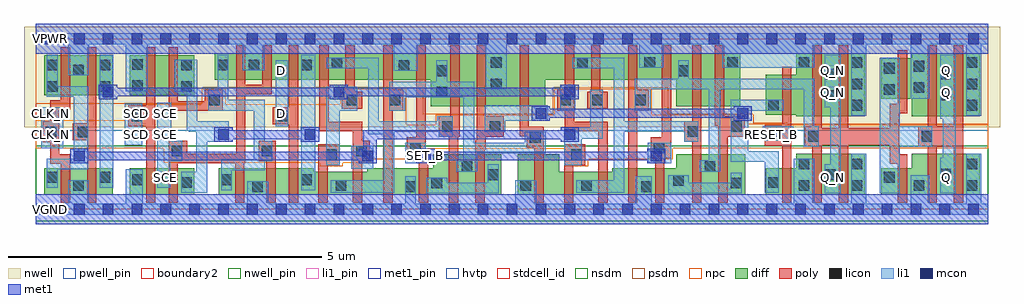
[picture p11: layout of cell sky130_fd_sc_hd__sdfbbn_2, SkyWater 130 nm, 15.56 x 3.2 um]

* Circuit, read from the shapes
.subckt sky130_fd_sc_hd__sdfbbn_2 CLK_N D Q Q_N RESET_B SCD SCE SET_B VGND VNB VPB VPWR
XM1 VGND CLK_N n1 VNB sky130_fd_pr__nfet_01v8 w=0.42 l=0.15
XM2 n2 n1 VGND VNB sky130_fd_pr__nfet_01v8 w=0.42 l=0.15
XM3 n3 SCD VGND VNB sky130_fd_pr__nfet_01v8 w=0.42 l=0.15
XM4 n4 SCE n3 VNB sky130_fd_pr__nfet_01v8 w=0.42 l=0.15
XM5 VGND SCE n5 VNB sky130_fd_pr__nfet_01v8 w=0.42 l=0.15
XM6 n6 n5 VGND VNB sky130_fd_pr__nfet_01v8 w=0.42 l=0.15
XM7 n4 D n6 VNB sky130_fd_pr__nfet_01v8 w=0.42 l=0.15
XM8 n7 n2 n4 VNB sky130_fd_pr__nfet_01v8 w=0.36 l=0.15
XM9 n8 n1 n7 VNB sky130_fd_pr__nfet_01v8 w=0.36 l=0.15
XM10 VGND n9 n8 VNB sky130_fd_pr__nfet_01v8 w=0.42 l=0.15
XM11 n10 SET_B VGND VNB sky130_fd_pr__nfet_01v8 w=0.42 l=0.15
XM12 n9 n7 n10 VNB sky130_fd_pr__nfet_01v8 w=0.64 l=0.15
XM13 n10 n11 n9 VNB sky130_fd_pr__nfet_01v8 w=0.64 l=0.15
XM14 n12 n9 VGND VNB sky130_fd_pr__nfet_01v8 w=0.64 l=0.15
XM15 n13 n1 n12 VNB sky130_fd_pr__nfet_01v8 w=0.36 l=0.15
XM16 n14 n2 n13 VNB sky130_fd_pr__nfet_01v8 w=0.36 l=0.15
XM17 VGND n15 n14 VNB sky130_fd_pr__nfet_01v8 w=0.42 l=0.15
XM18 n16 SET_B VGND VNB sky130_fd_pr__nfet_01v8 w=0.42 l=0.15
XM19 n15 n13 n16 VNB sky130_fd_pr__nfet_01v8 w=0.64 l=0.15
XM20 n16 n11 n15 VNB sky130_fd_pr__nfet_01v8 w=0.64 l=0.15
XM21 VGND RESET_B n11 VNB sky130_fd_pr__nfet_01v8 w=0.42 l=0.15
XM22 Q_N n15 VGND VNB sky130_fd_pr__nfet_01v8 w=0.65 l=0.15 m=2
XM23 VGND n15 n17 VNB sky130_fd_pr__nfet_01v8 w=0.42 l=0.15
XM24 Q n17 VGND VNB sky130_fd_pr__nfet_01v8 w=0.65 l=0.15 m=2
XM25 VPWR CLK_N n1 VPB sky130_fd_pr__pfet_01v8_hvt w=0.64 l=0.15
XM26 n2 n1 VPWR VPB sky130_fd_pr__pfet_01v8_hvt w=0.64 l=0.15
XM27 n18 SCD VPWR VPB sky130_fd_pr__pfet_01v8_hvt w=0.64 l=0.15
XM28 n4 n5 n18 VPB sky130_fd_pr__pfet_01v8_hvt w=0.64 l=0.15
XM29 VPWR SCE n5 VPB sky130_fd_pr__pfet_01v8_hvt w=0.42 l=0.15
XM30 n19 SCE VPWR VPB sky130_fd_pr__pfet_01v8_hvt w=0.42 l=0.15
XM31 n4 D n19 VPB sky130_fd_pr__pfet_01v8_hvt w=0.42 l=0.15
XM32 n7 n1 n4 VPB sky130_fd_pr__pfet_01v8_hvt w=0.42 l=0.15
XM33 n20 n2 n7 VPB sky130_fd_pr__pfet_01v8_hvt w=0.42 l=0.15
XM34 VPWR n9 n20 VPB sky130_fd_pr__pfet_01v8_hvt w=0.42 l=0.15
XM35 n9 SET_B VPWR VPB sky130_fd_pr__pfet_01v8_hvt w=0.42 l=0.15
XM36 n21 n7 n9 VPB sky130_fd_pr__pfet_01v8_hvt w=0.84 l=0.15
XM37 VPWR n11 n21 VPB sky130_fd_pr__pfet_01v8_hvt w=0.84 l=0.15
XM38 n22 n9 VPWR VPB sky130_fd_pr__pfet_01v8_hvt w=0.84 l=0.15
XM39 n13 n2 n22 VPB sky130_fd_pr__pfet_01v8_hvt w=0.42 l=0.15
XM40 n23 n1 n13 VPB sky130_fd_pr__pfet_01v8_hvt w=0.42 l=0.15
XM41 VPWR n15 n23 VPB sky130_fd_pr__pfet_01v8_hvt w=0.42 l=0.15
XM42 n15 SET_B VPWR VPB sky130_fd_pr__pfet_01v8_hvt w=0.42 l=0.15
XM43 n24 n13 n15 VPB sky130_fd_pr__pfet_01v8_hvt w=0.84 l=0.15
XM44 VPWR n11 n24 VPB sky130_fd_pr__pfet_01v8_hvt w=0.84 l=0.15
XM45 VPWR RESET_B n11 VPB sky130_fd_pr__pfet_01v8_hvt w=0.64 l=0.15
XM46 Q_N n15 VPWR VPB sky130_fd_pr__pfet_01v8_hvt w=1 l=0.15 m=2
XM47 VPWR n15 n17 VPB sky130_fd_pr__pfet_01v8_hvt w=0.64 l=0.15
XM48 Q n17 VPWR VPB sky130_fd_pr__pfet_01v8_hvt w=1 l=0.15 m=2
.ends

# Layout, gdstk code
import gdstk
lib = gdstk.Library(unit=1e-6, precision=1e-09)
def R(c, l, rs):  # rectangles x0, y0, x1, y1
    for r in rs: c.add(gdstk.rectangle(r[:2], r[2:], *l))
def A(c, l, x, y, w, h, nx, ny, dx, dy):  # array of equal rectangles
    R(c, l, [(x+i*dx, y+j*dy, x+i*dx+w, y+j*dy+h) for i in range(nx) for j in range(ny)])
def P(c, l, *ps):  # polygons
    for p in ps: c.add(gdstk.Polygon(p, *l))
nwell_pin = (64, 16)
nwell = (64, 20)
diff = (65, 20)
poly = (66, 20)
licon = (66, 44)
li1_pin = (67, 16)
li1 = (67, 20)
mcon = (67, 44)
met1_pin = (68, 16)
met1 = (68, 20)
hvtp = (78, 44)
stdcell_id = (81, 4)
nsdm = (93, 44)
psdm = (94, 20)
npc = (95, 20)
pwell_pin = (122, 16)
boundary2 = (236, 0)

sky130_fd_sc_hd__sdfbbn_ = lib.new_cell('sky130_fd_sc_hd__sdfbbn_2')
R(sky130_fd_sc_hd__sdfbbn_, nwell_pin, [(0.145,2.635,0.315,2.805), (0.145,2.635,0.315,2.805)])
R(sky130_fd_sc_hd__sdfbbn_, nwell, [(-0.19,1.305,15.37,2.91)])
R(sky130_fd_sc_hd__sdfbbn_, diff, [(0.135,0.235,1.225,0.655), (1.495,0.235,2.525,0.655), (0.135,1.815,1.225,2.455), (1.495,1.815,2.525,2.455)])
P(sky130_fd_sc_hd__sdfbbn_, diff, [(15.045,0.885),(13.965,0.885),(13.965,0.655),(13.48,0.655),(13.48,0.235),(15.045,0.235)],
  [(7.415,0.875),(6.335,0.875),(6.335,0.655),(5.28,0.655),(5.28,0.595),(4.43,0.595),(4.43,0.655),(2.915,0.655),(2.915,0.235),(7.415,0.235)],
  [(11.23,2.485),(2.855,2.485),(2.855,2.065),(6.295,2.065),(6.295,1.645),(8.12,1.645),(8.12,2.065),(10.205,2.065),(10.205,1.645),(11.23,1.645)],
  [(11.305,0.875),(10.21,0.875),(10.21,0.655),(9.19,0.655),(9.19,0.595),(8.345,0.595),(8.345,0.875),(7.685,0.875),(7.685,0.235),(11.305,0.235)],
  [(13.21,2.485),(12.12,2.485),(12.12,2.145),(11.635,2.145),(11.635,1.505),(12.12,1.505),(12.12,1.485),(13.21,1.485)],
  [(13.21,0.885),(12.12,0.885),(12.12,0.655),(11.635,0.655),(11.635,0.235),(13.21,0.235)],
  [(15.045,2.485),(13.965,2.485),(13.965,2.405),(13.48,2.405),(13.48,1.765),(13.965,1.765),(13.965,1.485),(15.045,1.485)])
P(sky130_fd_sc_hd__sdfbbn_, poly, [(0.545,0.88),(0.375,0.88),(0.375,1.59),(0.545,1.59),(0.545,2.585),(0.395,2.585),(0.395,1.74),(0.225,1.74),(0.225,1.4),(0.105,1.4),(0.105,1.07),(0.225,1.07),(0.225,0.73),(0.395,0.73),(0.395,0.105),(0.545,0.105)],
  [(0.965,2.585),(0.815,2.585),(0.815,1.37),(0.585,1.37),(0.585,1.1),(0.815,1.1),(0.815,0.105),(0.965,0.105)],
  [(1.905,2.585),(1.755,2.585),(1.755,1.655),(1.475,1.655),(1.475,1.325),(1.755,1.325),(1.755,0.105),(1.905,0.105)],
  [(2.98,1.905),(2.695,1.905),(2.695,1.725),(2.265,1.725),(2.265,2.585),(2.115,2.585),(2.115,1.575),(2.98,1.575)],
  [(3.76,2.615),(3.61,2.615),(3.61,1.985),(3.34,1.985),(3.34,2.615),(3.19,2.615),(3.19,0.885),(2.415,0.885),(2.415,1.095),(2.115,1.095),(2.115,0.105),(2.265,0.105),(2.265,0.735),(3.175,0.735),(3.175,0.105),(3.325,0.105),(3.325,0.735),(3.34,0.735),(3.34,1.835),(3.76,1.835)],
  [(3.82,1.095),(3.55,1.095),(3.55,0.765),(3.67,0.765),(3.67,0.105),(3.82,0.105)],
  [(4.18,2.615),(4.03,2.615),(4.03,1.625),(3.775,1.625),(3.775,1.355),(4.03,1.355),(4.03,0.105),(4.18,0.105)],
  [(4.845,1.035),(4.505,1.035),(4.505,0.105),(4.655,0.105),(4.655,0.705),(4.845,0.705)],
  [(5.205,1.875),(5.085,1.875),(5.085,2.615),(4.935,2.615),(4.935,1.875),(4.875,1.875),(4.875,1.605),(5.205,1.605)],
  [(5.325,1.095),(5.205,1.095),(5.205,1.395),(4.665,1.395),(4.665,2.615),(4.515,2.615),(4.515,1.245),(5.055,1.245),(5.055,0.105),(5.205,0.105),(5.205,0.765),(5.325,0.765)],
  [(5.855,1.905),(5.685,1.905),(5.685,2.615),(5.535,2.615),(5.535,0.105),(5.685,0.105),(5.685,1.575),(5.855,1.575)],
  [(6.255,0.965),(6.215,0.965),(6.215,2.615),(6.065,2.615),(6.065,1.145),(5.915,1.145),(5.915,0.815),(6.105,0.815),(6.105,0.105),(6.255,0.105)],
  [(6.755,2.615),(6.605,2.615),(6.605,1.485),(6.425,1.485),(6.425,1.155),(6.585,1.155),(6.585,0.105),(6.735,0.105),(6.735,1.155),(6.755,1.155)],
  [(7.455,1.485),(7.175,1.485),(7.175,2.615),(7.025,2.615),(7.025,1.1),(7.005,1.1),(7.005,0.105),(7.155,0.105),(7.155,0.95),(7.175,0.95),(7.175,1.155),(7.455,1.155)],
  [(8.095,1.315),(7.86,1.315),(7.86,2.615),(7.71,2.615),(7.71,1.165),(7.825,1.165),(7.825,0.985),(7.945,0.985),(7.945,0.105),(8.095,0.105)],
  [(8.755,1.035),(8.42,1.035),(8.42,0.105),(8.57,0.105),(8.57,0.705),(8.755,0.705)],
  [(9.115,1.395),(8.58,1.395),(8.58,2.615),(8.43,2.615),(8.43,1.905),(8.31,1.905),(8.31,1.575),(8.43,1.575),(8.43,1.245),(8.965,1.245),(8.965,0.105),(9.115,0.105)],
  [(9.12,1.875),(9,1.875),(9,2.615),(8.85,2.615),(8.85,1.875),(8.79,1.875),(8.79,1.605),(9.12,1.605)],
  [(9.77,1.905),(9.59,1.905),(9.59,2.615),(9.44,2.615),(9.44,0.105),(9.59,0.105),(9.59,1.575),(9.77,1.575)],
  [(10.13,2.615),(9.98,2.615),(9.98,1.145),(9.8,1.145),(9.8,0.815),(9.87,0.815),(9.87,0.105),(10.02,0.105),(10.02,0.815),(10.13,0.815)],
  [(10.61,2.615),(10.46,2.615),(10.46,1.405),(10.34,1.405),(10.34,1.075),(10.46,1.075),(10.46,0.105),(10.61,0.105)],
  [(11.3,1.485),(10.97,1.485),(10.97,2.615),(10.82,2.615),(10.82,1.335),(10.88,1.335),(10.88,0.105),(11.03,0.105),(11.03,1.155),(11.3,1.155)],
  [(12.045,2.275),(11.895,2.275),(11.895,1.345),(11.62,1.345),(11.62,1.015),(11.895,1.015),(11.895,0.105),(12.045,0.105)],
  [(13.89,0.88),(13.76,0.88),(13.76,1.535),(13.89,1.535),(13.89,2.535),(13.74,2.535),(13.74,1.685),(13.61,1.685),(13.61,1.295),(12.95,1.295),(12.95,2.615),(12.8,2.615),(12.8,1.295),(12.53,1.295),(12.53,2.615),(12.38,2.615),(12.38,1.325),(12.26,1.325),(12.26,0.995),(12.38,0.995),(12.38,0.105),(12.53,0.105),(12.53,1.025),(12.8,1.025),(12.8,0.105),(12.95,0.105),(12.95,1.025),(13.61,1.025),(13.61,0.73),(13.74,0.73),(13.74,0.105),(13.89,0.105)],
  [(14.785,2.615),(14.635,2.615),(14.635,1.325),(14.365,1.325),(14.365,2.615),(14.215,2.615),(14.215,1.325),(14.07,1.325),(14.07,0.995),(14.215,0.995),(14.215,0.105),(14.365,0.105),(14.365,0.995),(14.635,0.995),(14.635,0.105),(14.785,0.105)])
A(sky130_fd_sc_hd__sdfbbn_, licon, 13, 1.575, 0.17, 0.17, 1, 3, 0, 0.34)
A(sky130_fd_sc_hd__sdfbbn_, licon, 14.835, 1.575, 0.17, 0.17, 1, 3, 0, 0.34)
R(sky130_fd_sc_hd__sdfbbn_, licon, [(3.45,0.275,3.62,0.445), (5.885,0.275,6.055,0.445), (9.65,0.275,9.82,0.445), (0.595,0.295,0.765,0.465), (4.78,0.295,4.95,0.465), (7.725,0.295,7.895,0.465), (8.695,0.295,8.865,0.465), (12.16,0.295,12.33,0.465), (13,0.295,13.17,0.465), (13.995,0.295,14.165,0.465), (14.835,0.295,15.005,0.465), (6.305,0.335,6.475,0.505), (11.08,0.335,11.25,0.505), (2.315,0.345,2.485,0.515), (11.675,0.345,11.845,0.515), (10.16,0.375,10.33,0.545), (1.535,0.385,1.705,0.555), (2.955,0.385,3.125,0.555), (4.23,0.385,4.4,0.555), (0.175,0.425,0.345,0.595), (1.015,0.425,1.185,0.595), (13.52,0.425,13.69,0.595), (7.205,0.465,7.375,0.635), (12.58,0.465,12.75,0.635), (14.415,0.475,14.585,0.645), (6.785,0.595,6.955,0.765), (10.66,0.595,10.83,0.765), (12.16,0.635,12.33,0.805), (13,0.635,13.17,0.805), (14.835,0.635,15.005,0.805), (4.625,0.785,4.795,0.955), (8.535,0.785,8.705,0.955), (2.165,0.845,2.335,1.015), (3.6,0.845,3.77,1.015), (5.105,0.845,5.275,1.015), (5.965,0.895,6.135,1.065), (9.85,0.895,10.02,1.065), (7.875,1.065,8.045,1.235), (12.31,1.075,12.48,1.245), (14.12,1.075,14.29,1.245), (11.67,1.095,11.84,1.265), (0.155,1.15,0.325,1.32), (0.665,1.15,0.835,1.32), (10.39,1.155,10.56,1.325), (6.475,1.235,6.645,1.405), (7.235,1.235,7.405,1.405), (11.08,1.235,11.25,1.405), (1.525,1.405,1.695,1.575), (3.855,1.405,4.025,1.575), (11.675,1.575,11.845,1.745), (2.76,1.655,2.93,1.825), (4.955,1.655,5.125,1.825), (5.635,1.655,5.805,1.825), (8.36,1.655,8.53,1.825), (8.87,1.655,9.04,1.825), (9.55,1.655,9.72,1.825), (12.58,1.73,12.75,1.9), (14.415,1.735,14.585,1.905), (6.385,1.785,6.555,1.955), (13.52,1.825,13.69,1.995), (13.995,1.855,14.165,2.025), (0.175,1.875,0.345,2.045), (1.015,1.875,1.185,2.045), (2.315,1.875,2.485,2.045), (1.535,1.885,1.705,2.055), (7.255,1.915,7.425,2.085), (12.58,2.07,12.75,2.24), (14.415,2.075,14.585,2.245), (6.385,2.125,6.555,2.295), (10.24,2.125,10.41,2.295), (0.595,2.135,0.765,2.305), (13.52,2.165,13.69,2.335), (13.995,2.195,14.165,2.365), (5.785,2.205,5.955,2.375), (0.175,2.215,0.345,2.385), (1.015,2.215,1.185,2.385), (2.315,2.215,2.485,2.385), (2.895,2.215,3.065,2.385), (3.39,2.215,3.56,2.385), (4.23,2.215,4.4,2.385), (1.535,2.225,1.705,2.395), (4.715,2.25,4.885,2.42), (8.63,2.25,8.8,2.42), (7.255,2.255,7.425,2.425), (9.7,2.255,9.87,2.425), (11.02,2.255,11.19,2.425), (12.16,2.255,12.33,2.425)])
R(sky130_fd_sc_hd__sdfbbn_, li1_pin, [(0.145,-0.085,0.315,0.085), (1.975,0.425,2.145,0.595), (12.62,0.425,12.79,0.595), (14.44,0.425,14.61,0.595), (6.125,0.765,6.295,0.935), (0.145,1.105,0.315,1.275), (1.525,1.105,1.695,1.275), (1.985,1.105,2.155,1.275), (11.7,1.105,11.87,1.275), (0.145,1.445,0.315,1.615), (1.525,1.445,1.695,1.615), (1.985,1.445,2.155,1.615), (3.825,1.445,3.995,1.615), (12.62,1.785,12.79,1.955), (14.44,1.785,14.61,1.955), (3.825,2.125,3.995,2.295), (12.62,2.125,12.79,2.295), (14.44,2.125,14.61,2.295), (0.145,2.635,0.315,2.805)])
R(sky130_fd_sc_hd__sdfbbn_, li1, [(4.23,0.305,4.455,2.465), (1.015,0.345,1.235,2.465), (5.025,0.645,5.375,1.015), (9.755,0.735,10.13,1.065), (0.085,0.975,0.435,1.625), (1.415,1.025,1.695,1.685), (11.59,1.095,12.07,1.325), (3.825,1.325,4.025,2.375), (8.36,1.575,8.595,1.985)])
P(sky130_fd_sc_hd__sdfbbn_, li1, [(0.835,1.965),(0.345,1.965),(0.345,2.465),(0.17,2.465),(0.17,1.795),(0.605,1.795),(0.605,0.805),(0.17,0.805),(0.17,0.345),(0.345,0.345),(0.345,0.635),(0.835,0.635)],
  [(2.335,1.095),(2.155,1.095),(2.155,1.695),(1.935,1.695),(1.935,0.345),(2.145,0.345),(2.145,0.765),(2.335,0.765)],
  [(3.075,1.405),(2.575,1.405),(2.575,2.385),(2.215,2.385),(2.215,1.875),(2.405,1.875),(2.405,1.25),(2.435,1.25),(2.435,1.235),(2.56,1.235),(2.56,0.595),(2.315,0.595),(2.315,0.265),(2.73,0.265),(2.73,1.075),(3.075,1.075)],
  [(3.77,1.095),(3.645,1.095),(3.645,1.745),(3.065,1.745),(3.065,2.465),(2.895,2.465),(2.895,1.905),(2.745,1.905),(2.745,1.575),(3.475,1.575),(3.475,0.795),(2.955,0.795),(2.955,0.305),(3.125,0.305),(3.125,0.625),(3.645,0.625),(3.645,0.765),(3.77,0.765)],
  [(11.925,1.745),(11.08,1.745),(11.08,0.755),(11.62,0.755),(11.62,0.265),(11.845,0.265),(11.845,0.925),(11.355,0.925),(11.355,1.575),(11.925,1.575)],
  [(5.125,1.955),(4.625,1.955),(4.625,0.705),(4.845,0.705),(4.845,1.575),(5.125,1.575)],
  [(6.295,0.965),(6.215,0.965),(6.215,1.065),(5.885,1.065),(5.885,0.735),(6.295,0.735)],
  [(6.645,1.485),(6.395,1.485),(6.395,1.405),(5.465,1.405),(5.465,2.42),(4.635,2.42),(4.635,2.25),(5.295,2.25),(5.295,1.195),(5.545,1.195),(5.545,0.465),(4.7,0.465),(4.7,0.265),(5.715,0.265),(5.715,1.235),(6.425,1.235),(6.425,1.155),(6.645,1.155)],
  [(7.375,0.715),(7.205,0.715),(7.205,0.425),(6.555,0.425),(6.555,0.505),(6.225,0.505),(6.225,0.255),(7.375,0.255)],
  [(8.125,1.235),(7.795,1.235),(7.795,1.065),(6.985,1.065),(6.985,2.035),(6.555,2.035),(6.555,2.375),(6.385,2.375),(6.385,2.035),(5.635,2.035),(5.635,1.575),(5.885,1.575),(5.885,1.785),(6.815,1.785),(6.815,0.765),(6.705,0.765),(6.705,0.595),(7.035,0.595),(7.035,0.895),(8.125,0.895)],
  [(8.16,1.655),(7.155,1.655),(7.155,1.235),(7.485,1.235),(7.485,1.415),(8.16,1.415)],
  [(9.04,1.905),(8.835,1.905),(8.835,1.305),(8.42,1.305),(8.42,0.705),(8.705,0.705),(8.705,1.125),(9.04,1.125)],
  [(10.56,1.405),(9.38,1.405),(9.38,2.42),(8.55,2.42),(8.55,2.25),(9.21,2.25),(9.21,0.465),(8.615,0.465),(8.615,0.265),(9.38,0.265),(9.38,1.235),(10.34,1.235),(10.34,1.075),(10.56,1.075)],
  [(11.25,0.585),(11.08,0.585),(11.08,0.425),(10.41,0.425),(10.41,0.545),(10.08,0.545),(10.08,0.255),(11.25,0.255)],
  [(15.18,2.805),(0,2.805),(0,2.635),(0.515,2.635),(0.515,2.135),(0.845,2.135),(0.845,2.635),(1.43,2.635),(1.43,1.885),(1.785,1.885),(1.785,2.635),(3.295,2.635),(3.295,2.215),(3.64,2.215),(3.64,2.635),(5.705,2.635),(5.705,2.205),(6.085,2.205),(6.085,2.635),(7.175,2.635),(7.175,1.915),(7.505,1.915),(7.505,2.635),(9.62,2.635),(9.62,2.255),(10,2.255),(10,2.635),(10.94,2.635),(10.94,2.255),(12.41,2.255),(12.41,2.635),(13,2.635),(13,1.495),(13.235,1.495),(13.235,2.635),(13.95,2.635),(13.95,1.765),(14.245,1.765),(14.245,2.635),(14.835,2.635),(14.835,1.495),(15.075,1.495),(15.075,2.635),(15.18,2.635)],
  [(12.48,1.325),(12.41,1.325),(12.41,2.085),(10.41,2.085),(10.41,2.375),(10.24,2.375),(10.24,2.085),(9.55,2.085),(9.55,1.575),(9.8,1.575),(9.8,1.915),(10.73,1.915),(10.73,0.78),(10.58,0.78),(10.58,0.595),(10.91,0.595),(10.91,1.915),(12.24,1.915),(12.24,0.995),(12.48,0.995)],
  [(15.18,0.085),(15.075,0.085),(15.075,0.885),(14.835,0.885),(14.835,0.085),(14.245,0.085),(14.245,0.545),(13.95,0.545),(13.95,0.085),(13.235,0.085),(13.235,0.885),(13,0.885),(13,0.085),(12.41,0.085),(12.41,0.805),(12.08,0.805),(12.08,0.085),(9.82,0.085),(9.82,0.525),(9.56,0.525),(9.56,0.085),(7.975,0.085),(7.975,0.465),(7.645,0.465),(7.645,0.085),(6.055,0.085),(6.055,0.525),(5.885,0.525),(5.885,0.085),(3.7,0.085),(3.7,0.445),(3.37,0.445),(3.37,0.085),(1.705,0.085),(1.705,0.635),(1.43,0.635),(1.43,0.085),(0.845,0.085),(0.845,0.465),(0.515,0.465),(0.515,0.085),(0,0.085),(0,-0.085),(15.18,-0.085)],
  [(14.29,1.325),(13.77,1.325),(13.77,2.415),(13.455,2.415),(13.455,0.255),(13.77,0.255),(13.77,0.995),(14.29,0.995)],
  [(12.83,2.465),(12.58,2.465),(12.58,1.63),(12.66,1.63),(12.66,0.715),(12.58,0.715),(12.58,0.255),(12.83,0.255)],
  [(14.665,2.465),(14.415,2.465),(14.415,1.445),(14.46,1.445),(14.46,0.825),(14.415,0.825),(14.415,0.255),(14.665,0.255)])
A(sky130_fd_sc_hd__sdfbbn_, mcon, 0.145, -0.085, 0.17, 0.17, 33, 2, 0.46, 2.72)
A(sky130_fd_sc_hd__sdfbbn_, mcon, 1.065, 1.785, 0.17, 0.17, 3, 1, 3.68, 0)
R(sky130_fd_sc_hd__sdfbbn_, mcon, [(0.605,0.765,0.775,0.935), (5.205,0.765,5.375,0.935), (6.125,0.765,6.295,0.935), (9.805,0.765,9.975,0.935), (2.905,1.105,3.075,1.275), (4.285,1.105,4.455,1.275), (8.425,1.105,8.595,1.275), (7.965,1.445,8.135,1.615), (11.185,1.445,11.355,1.615)])
R(sky130_fd_sc_hd__sdfbbn_, met1_pin, [(0.145,-0.085,0.315,0.085), (0.145,2.635,0.315,2.805)])
R(sky130_fd_sc_hd__sdfbbn_, met1, [(0,-0.24,15.18,0.24), (0,2.48,15.18,2.96)])
P(sky130_fd_sc_hd__sdfbbn_, met1, [(4.515,1.305),(4.225,1.305),(4.225,1.26),(3.135,1.26),(3.135,1.305),(2.845,1.305),(2.845,1.075),(3.135,1.075),(3.135,1.12),(4.225,1.12),(4.225,1.075),(4.515,1.075)],
  [(8.655,1.985),(8.365,1.985),(8.365,1.94),(4.975,1.94),(4.975,1.985),(4.685,1.985),(4.685,1.94),(1.295,1.94),(1.295,1.985),(1.005,1.985),(1.005,1.755),(1.295,1.755),(1.295,1.8),(4.685,1.8),(4.685,1.755),(4.975,1.755),(4.975,1.8),(8.365,1.8),(8.365,1.755),(8.655,1.755)],
  [(8.655,1.305),(8.365,1.305),(8.365,1.26),(5.22,1.26),(5.22,0.965),(5.145,0.965),(5.145,0.92),(0.835,0.92),(0.835,0.965),(0.545,0.965),(0.545,0.735),(0.835,0.735),(0.835,0.78),(5.145,0.78),(5.145,0.735),(5.435,0.735),(5.435,1.12),(8.365,1.12),(8.365,1.075),(8.655,1.075)],
  [(10.035,0.965),(9.745,0.965),(9.745,0.92),(6.355,0.92),(6.355,0.965),(6.065,0.965),(6.065,0.735),(6.355,0.735),(6.355,0.78),(9.745,0.78),(9.745,0.735),(10.035,0.735)],
  [(11.415,1.645),(11.125,1.645),(11.125,1.6),(8.195,1.6),(8.195,1.645),(7.905,1.645),(7.905,1.415),(8.195,1.415),(8.195,1.46),(11.125,1.46),(11.125,1.415),(11.415,1.415)])
R(sky130_fd_sc_hd__sdfbbn_, hvtp, [(0,1.25,15.18,2.72)])
R(sky130_fd_sc_hd__sdfbbn_, stdcell_id, [(0,0,15.18,2.72)])
R(sky130_fd_sc_hd__sdfbbn_, nsdm, [(0,-0.19,15.18,1.015)])
P(sky130_fd_sc_hd__sdfbbn_, psdm, [(15.18,2.91),(0,2.91),(0,1.685),(2.65,1.685),(2.65,1.935),(6.165,1.935),(6.165,1.515),(8.25,1.515),(8.25,1.935),(10.075,1.935),(10.075,1.515),(11.435,1.515),(11.435,1.375),(11.99,1.375),(11.99,1.355),(15.18,1.355)])
P(sky130_fd_sc_hd__sdfbbn_, npc, [(15.18,1.345),(11.94,1.345),(11.94,1.365),(11.35,1.365),(11.35,1.505),(9.82,1.505),(9.82,1.925),(8.26,1.925),(8.26,1.505),(6.375,1.505),(6.375,1.345),(5.905,1.345),(5.905,1.925),(4.855,1.925),(4.855,1.675),(3.03,1.675),(3.03,1.925),(2.645,1.925),(2.645,1.675),(1.425,1.675),(1.425,1.42),(0,1.42),(0,0.975),(2.04,0.975),(2.04,0.745),(4.525,0.745),(4.525,0.685),(4.895,0.685),(4.895,0.745),(5.375,0.745),(5.375,0.795),(6.235,0.795),(6.235,0.965),(8.435,0.965),(8.435,0.685),(8.805,0.685),(8.805,0.795),(10.15,0.795),(10.15,0.975),(15.18,0.975)])
R(sky130_fd_sc_hd__sdfbbn_, pwell_pin, [(0.145,-0.085,0.315,0.085), (0.145,-0.085,0.315,0.085)])
R(sky130_fd_sc_hd__sdfbbn_, boundary2, [(0,0,15.18,2.72)])
sky130_fd_sc_hd__sdfbbn_.add(gdstk.Label('SCD', (1.61,1.53), layer=67, texttype=5))
sky130_fd_sc_hd__sdfbbn_.add(gdstk.Label('SCD', (1.61,1.19), layer=67, texttype=5))
sky130_fd_sc_hd__sdfbbn_.add(gdstk.Label('SCE', (2.07,1.53), layer=67, texttype=5))
sky130_fd_sc_hd__sdfbbn_.add(gdstk.Label('SCE', (2.07,1.19), layer=67, texttype=5))
sky130_fd_sc_hd__sdfbbn_.add(gdstk.Label('SCE', (2.06,0.51), layer=67, texttype=5))
sky130_fd_sc_hd__sdfbbn_.add(gdstk.Label('RESET_B', (11.73,1.19), layer=67, texttype=5))
sky130_fd_sc_hd__sdfbbn_.add(gdstk.Label('VGND', (0.23,0), layer=67, texttype=5))
sky130_fd_sc_hd__sdfbbn_.add(gdstk.Label('CLK_N', (0.23,1.19), layer=67, texttype=5))
sky130_fd_sc_hd__sdfbbn_.add(gdstk.Label('CLK_N', (0.23,1.53), layer=67, texttype=5))
sky130_fd_sc_hd__sdfbbn_.add(gdstk.Label('SET_B', (6.21,0.85), layer=67, texttype=5))
sky130_fd_sc_hd__sdfbbn_.add(gdstk.Label('Q', (14.525,0.51), layer=67, texttype=5))
sky130_fd_sc_hd__sdfbbn_.add(gdstk.Label('Q', (14.525,1.87), layer=67, texttype=5))
sky130_fd_sc_hd__sdfbbn_.add(gdstk.Label('Q', (14.525,2.21), layer=67, texttype=5))
sky130_fd_sc_hd__sdfbbn_.add(gdstk.Label('VPWR', (0.23,2.72), layer=67, texttype=5))
sky130_fd_sc_hd__sdfbbn_.add(gdstk.Label('D', (3.91,1.53), layer=67, texttype=5))
sky130_fd_sc_hd__sdfbbn_.add(gdstk.Label('D', (3.91,2.21), layer=67, texttype=5))
sky130_fd_sc_hd__sdfbbn_.add(gdstk.Label('Q_N', (12.705,2.21), layer=67, texttype=5))
sky130_fd_sc_hd__sdfbbn_.add(gdstk.Label('Q_N', (12.705,1.87), layer=67, texttype=5))
sky130_fd_sc_hd__sdfbbn_.add(gdstk.Label('Q_N', (12.705,0.51), layer=67, texttype=5))
sky130_fd_sc_hd__sdfbbn_.add(gdstk.Label('VGND', (0.23,0), layer=68, texttype=5))
sky130_fd_sc_hd__sdfbbn_.add(gdstk.Label('VPWR', (0.23,2.72), layer=68, texttype=5))
sky130_fd_sc_hd__sdfbbn_.add(gdstk.Label('VPB', (0.23,2.72), layer=64, texttype=5))
sky130_fd_sc_hd__sdfbbn_.add(gdstk.Label('VPB', (0.23,2.72), layer=64, texttype=5))
sky130_fd_sc_hd__sdfbbn_.add(gdstk.Label('VNB', (0.23,0), layer=64, texttype=59))
sky130_fd_sc_hd__sdfbbn_.add(gdstk.Label('VNB', (0.23,0), layer=64, texttype=59))
sky130_fd_sc_hd__sdfbbn_.add(gdstk.Label('sdfbbn_2', (0,0), layer=83, texttype=44))

lib.write_gds('sky130_fd_sc_hd__sdfbbn_2.gds')
